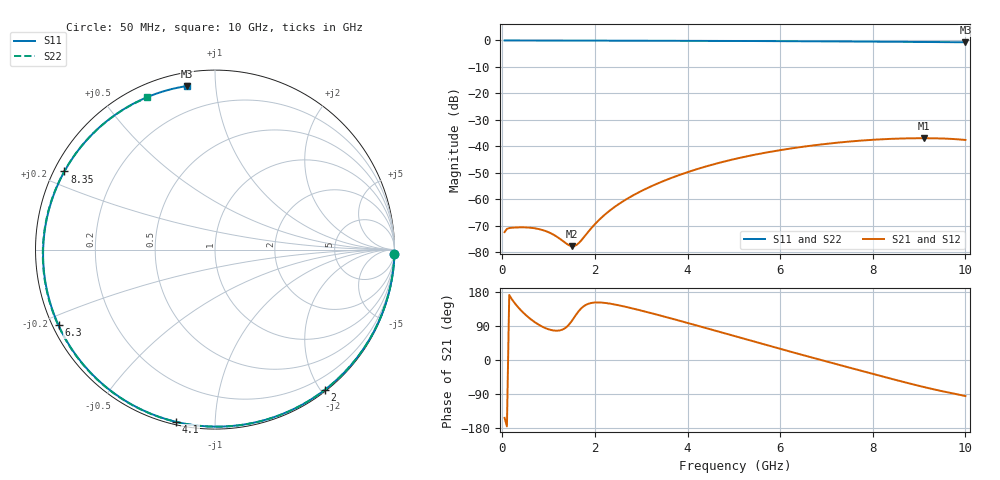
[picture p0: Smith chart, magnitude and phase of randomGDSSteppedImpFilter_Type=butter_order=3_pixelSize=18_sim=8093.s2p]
! freq	dB(S11)	phase(S11)	dB(S12)	phase(S12)
!  dB(S21)	phase(S21)	dB(S22)	phase(S22)
!S-par simulation data
#  GHz  S  DB  R 50
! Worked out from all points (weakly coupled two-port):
!   200 points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, 50 MHz to 10 GHz, reference 50 ohm
!   highest |S21| = -36.97 dB at 9.1 GHz (marker M1); lowest = -77.8 dB at 1.5 GHz (marker M2)
!   lowest |S11| = -0.7 dB at 10 GHz (marker M3), VSWR 25.51, Z = 3.35 + j42 ohm
!   |S11| at or under -10 dB: nowhere
!   |S22| runs from -0.6 to 0.0 dB; largest |S21 - S12| = 0
!   S11 on the Smith chart (normalised r, x): 50 MHz: 0, -86; 2 GHz: 0.02, -2.05; 4.1 GHz: 0.01, -0.80; 6.3 GHz: 0.02, -0.23; 8.35 GHz: 0.03, +0.24; 10 GHz: 0.07, +0.84
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0.05  -0.00 -1.3  -72.47 -152.6  -72.47 -152.6  -0.00 -1.4
0.1  -0.00 -2.7  -71.25 -175.3  -71.25 -175.3  -0.00 -2.8
0.2  -0.00 -5.3  -70.84 161.6  -70.84 161.6  -0.00 -5.7
0.75  -0.02 -19.9  -71.18 95.9  -71.18 95.9  -0.02 -21.1
1.05  -0.03 -27.7  -72.94 79.3  -72.94 79.3  -0.04 -29.4
1.5  -0.05 -39.3  -77.80 102.9  -77.80 102.9  -0.05 -41.6
1.6  -0.05 -41.9  -77.36 120.8  -77.36 120.8  -0.06 -44.3
1.75  -0.06 -45.7  -74.67 141.1  -74.67 141.1  -0.06 -48.3
2  -0.07 -52.0  -69.47 151.7  -69.47 151.7  -0.07 -54.9
2.25  -0.07 -58.3  -65.34 150.1  -65.34 150.1  -0.08 -61.4
2.6  -0.09 -67.0  -60.90 142.1  -60.90 142.1  -0.09 -70.3
3.4  -0.11 -86.3  -53.74 117.7  -53.74 117.7  -0.12 -90.0
4.1  -0.14 -102.9  -49.24 94.4  -49.24 94.4  -0.14 -106.4
5.05  -0.19 -124.9  -44.70 61.8  -44.70 61.8  -0.19 -127.9
5.7  -0.23 -140.0  -42.38 39.6  -42.38 39.6  -0.23 -142.1
6.3  -0.28 -154.2  -40.67 19.3  -40.67 19.3  -0.27 -155.3
6.7  -0.31 -163.9  -39.72 6.1  -39.72 6.1  -0.30 -164.1
7.55  -0.40 174.6  -38.14 -21.9  -38.14 -21.9  -0.37 176.8
8.35  -0.49 152.6  -37.24 -48.0  -37.24 -48.0  -0.46 157.9
9.1  -0.58 129.9  -36.97 -71.2  -36.97 -71.2  -0.54 138.9
9.55  -0.63 115.2  -37.10 -83.7  -37.10 -83.7  -0.59 126.7
10  -0.68 99.7  -37.62 -95.1  -37.62 -95.1  -0.65 114.0
